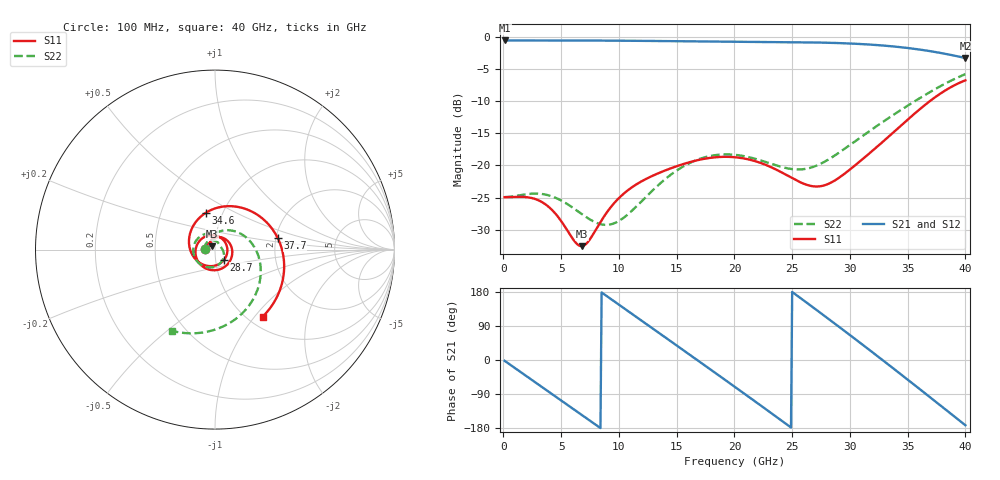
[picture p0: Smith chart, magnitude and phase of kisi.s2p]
! C_s8_offset: L1→L8, antipad Ø0.9 offset 0.1 mm from the via
! stackup: 8-layer 1.6 mm FR-4 (generic)
! ports: 1, 2
! kisi-fdtd, conformal, dfine 0.035 mm, 626535 cells
# Hz S RI R 50
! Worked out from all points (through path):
!   400 points, 100 MHz to 40 GHz, reference 50 ohm
!   highest |S21| = -0.57 dB at 100 MHz (marker M1); lowest = -3.3 dB at 40 GHz (marker M2)
!   group delay of S21, straight-line fit = 61.6 ps
!   lowest |S11| = -32.6 dB at 6.8 GHz (marker M3), VSWR 1.05, Z = 48.5 + j1.77 ohm
!   |S11| at or under -10 dB: start of sweep to 36.93 GHz
!   |S22| runs from -29.2 to -5.8 dB; largest |S21 - S12| = 4.9e-06
!   S11 on the Smith chart (normalised r, x): 100 MHz: 0.89, +0.00; 28.7 GHz: 1.10, -0.13; 34.6 GHz: 0.83, +0.35; 37.7 GHz: 2.04, +0.30; 40 GHz: 1.16, -1.10
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1e8  -0.0566 0.000998  0.9354 -0.0349  0.9354 -0.0349  -0.0567 0.00105
1.7e9  -0.0539 0.0184  0.7545 -0.554  0.7545 -0.554  -0.0555 0.0206
3.6e9  -0.035 0.0358  0.2127 -0.9113  0.2127 -0.9113  -0.0364 0.047
5.1e9  -0.0164 0.0319  -0.3035 -0.885  -0.3035 -0.885  -0.00784 0.0522
6.8e9  -0.015 0.0182  -0.7688 -0.532  -0.7688 -0.532  0.0169 0.0382
9.7e9  -0.0258 0.0455  -0.827 0.431  -0.827 0.431  0.0338 0.012
1.16e10  0.0169 0.0701  -0.3426 0.8645  -0.3426 0.8645  0.0473 -0.0122
1.34e10  0.0756 0.0428  0.2731 0.8855  0.2731 0.8855  0.0438 -0.0548
1.52e10  0.095 -0.0313  0.765 0.5167  0.765 0.5167  0.00149 -0.0937
1.68e10  0.0561 -0.0944  0.92 -0.00891  0.92 -0.00891  -0.0587 -0.094
2.01e10  -0.0872 -0.076  0.2787 -0.8714  0.2787 -0.8714  -0.1201 0.0129
2.19e10  -0.1072 0.004  -0.3375 -0.848  -0.3375 -0.848  -0.0889 0.0681
2.38e10  -0.0563 0.0716  -0.8159 -0.4036  -0.8159 -0.4036  -0.0416 0.0898
2.52e10  0.00623 0.0777  -0.9045 0.0774  -0.9045 0.0774  -0.0148 0.0921
2.67e10  0.0593 0.0354  -0.7061 0.5644  -0.7061 0.5644  0.00837 0.0963
2.87e10  0.0496 -0.0582  -0.0912 0.8906  -0.0912 0.8906  0.0529 0.1073
3.13e10  -0.095 -0.0664  0.7101 0.5102  0.7101 0.5102  0.1542 0.0821
3.34e10  -0.1359 0.1002  0.8228 -0.2002  0.8228 -0.2002  0.2346 -0.0163
3.46e10  -0.0528 0.2041  0.6119 -0.5546  0.6119 -0.5546  0.2547 -0.1074
3.62e10  0.1617 0.2294  0.131 -0.7806  0.131 -0.7806  0.2232 -0.2562
3.77e10  0.349 0.0651  -0.337 -0.6732  -0.337 -0.6732  0.1068 -0.3924
4e10  0.2659 -0.3733  -0.6768 -0.093  -0.6768 -0.093  -0.2388 -0.4532
